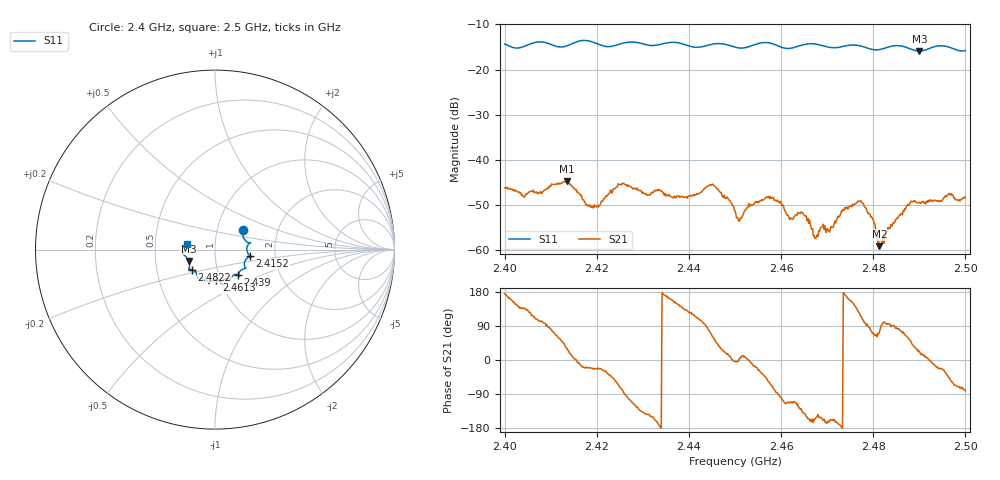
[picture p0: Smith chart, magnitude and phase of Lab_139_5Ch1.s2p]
# Hz S RI R 50
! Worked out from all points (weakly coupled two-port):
!   601 points, 2.4 GHz to 2.5 GHz, reference 50 ohm
!   highest |S21| = -44.75 dB at 2.4135 GHz (marker M1); lowest = -59.1 dB at 2.4813 GHz (marker M2)
!   lowest |S11| = -15.9 dB at 2.49 GHz (marker M3), VSWR 1.38, Z = 36.9 - j4.85 ohm
!   |S11| at or under -10 dB: start of sweep to end of sweep
!   S12 and S22 are empty: the file has one direction only
!   S11 on the Smith chart (normalised r, x): 2.4 GHz: 1.33, +0.31; 2.4152 GHz: 1.48, -0.11; 2.439 GHz: 1.24, -0.36; 2.4613 GHz: 0.96, -0.34; 2.4822 GHz: 0.76, -0.17; 2.5 GHz: 0.72, +0.05
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2.4e9  0.1556 0.1115  -0.00491 0.000428  0 0  0 0
2.404167e9  0.1735 0.0464  -0.00284 0.00265  0 0  0 0
2.4135e9  0.1817 -0.0171  0.00494 0.00302  0 0  0 0
2.415167e9  0.1947 -0.036  0.00476 0.000247  0 0  0 0
2.416667e9  0.2044 -0.0419  0.00391 -0.00111  0 0  0 0
2.4195e9  0.1944 -0.0397  0.00292 -0.00129  0 0  0 0
2.425167e9  0.1662 -0.0967  0.00153 -0.00512  0 0  0 0
2.433333e9  0.1327 -0.1324  -0.00451 -0.000928  0 0  0 0
2.439e9  0.1282 -0.1391  -0.00267 0.00284  0 0  0 0
2.445e9  0.084 -0.1708  0.00229 0.00479  0 0  0 0
2.45e9  0.0683 -0.1632  0.00274 -0.000173  0 0  0 0
2.457167e9  0.0401 -0.1938  0.00219 -0.00321  0 0  0 0
2.461333e9  0.0076 -0.1706  -0.000889 -0.00227  0 0  0 0
2.464833e9  -0.0315 -0.1855  -0.00188 -0.00168  0 0  0 0
2.466667e9  -0.0331 -0.1901  -0.00163 -0.000488  0 0  0 0
2.470167e9  -0.0445 -0.1716  -0.00161 -0.000549  0 0  0 0
2.477167e9  -0.0959 -0.1557  -0.00161 0.00308  0 0  0 0
2.481333e9  -0.1192 -0.1153  0.000326 0.00106  0 0  0 0
2.482167e9  -0.1282 -0.1116  -0.000196 0.00139  0 0  0 0
2.483333e9  -0.1393 -0.1101  -0.000185 0.00174  0 0  0 0
2.49e9  -0.1466 -0.0639  0.00319 0.00122  0 0  0 0
2.5e9  -0.1585 0.0332  0.000547 -0.00381  0 0  0 0
